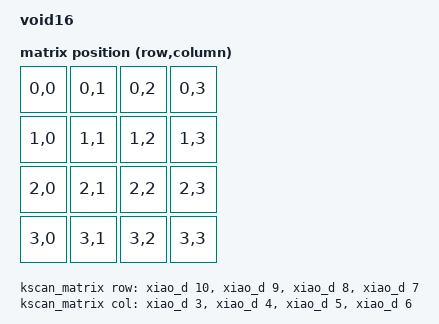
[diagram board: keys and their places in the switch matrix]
/*
 * Copyright (c) 2022 The ZMK Contributors
 *
 * SPDX-License-Identifier: MIT
 */
#include <dt-bindings/zmk/matrix_transform.h>

/ {
    model = "void16";

    chosen {
        zmk,kscan = &kscan;
        zmk,matrix_transform = &transform;
    };


    transform: transform {
        compatible = "zmk,matrix-transform";
        rows = <4>;
        columns = <4>;

//      | SW01  | SW02  | SW03  | SW04  |
//      | SW05  | SW06  | SW08  | SW09  |
//      | SW10  | SW10  | SW11  | SW12  |
//      | SW13  | SW14  | SW15  | SW16  |

        map = <
         RC(0,0) RC(0,1) RC(0,2) RC(0,3)
         RC(1,0) RC(1,1) RC(1,2) RC(1,3)
         RC(2,0) RC(2,1) RC(2,2) RC(2,3)
         RC(3,0) RC(3,1) RC(3,2) RC(3,3)
        >;
    };


    kscan: kscan {
        compatible = "zmk,kscan-composite";
        label = "KSCAN";
        rows = <4>;
        columns = <4>;
        // wakeup-source;

        matrix {
            kscan = <&kscan_matrix>;
        };
    };


    kscan_matrix: kscan_matrix {
        compatible = "zmk,kscan-gpio-matrix";
        label = "KSCAN_MATRIX";

        diode-direction = "col2row";

        col-gpios
            = <&xiao_d 3 GPIO_ACTIVE_HIGH>
            , <&xiao_d 4 GPIO_ACTIVE_HIGH>
            , <&xiao_d 5 GPIO_ACTIVE_HIGH>
            , <&xiao_d 6 GPIO_ACTIVE_HIGH>
            ;
        row-gpios
            = <&xiao_d 10 (GPIO_ACTIVE_HIGH | GPIO_PULL_DOWN)>
            , <&xiao_d 9 (GPIO_ACTIVE_HIGH | GPIO_PULL_DOWN)>
            , <&xiao_d 8 (GPIO_ACTIVE_HIGH | GPIO_PULL_DOWN)>
            , <&xiao_d 7 (GPIO_ACTIVE_HIGH | GPIO_PULL_DOWN)>
            ;
    };
};

